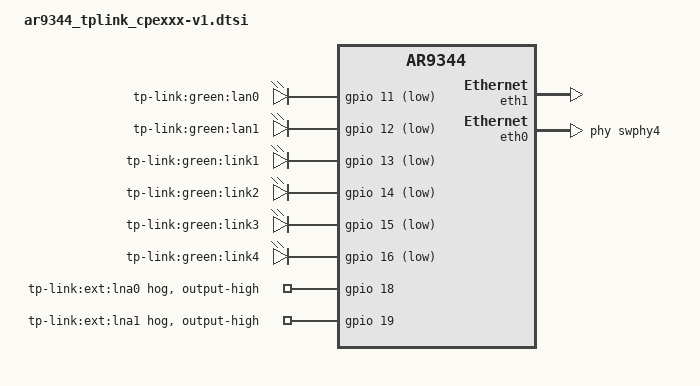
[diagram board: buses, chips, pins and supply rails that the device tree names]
// SPDX-License-Identifier: GPL-2.0-or-later OR MIT
/dts-v1/;

#include "ar9344_tplink_cpexxx.dtsi"

/ {
	aliases {
		led-boot = &system;
		led-failsafe = &system;
		led-running = &system;
		led-upgrade = &system;
	};

	leds {
		compatible = "gpio-leds";

		lan0 {
			label = "tp-link:green:lan0";
			gpios = <&gpio 11 GPIO_ACTIVE_LOW>;
		};

		lan1 {
			label = "tp-link:green:lan1";
			gpios = <&gpio 12 GPIO_ACTIVE_LOW>;
		};

		link1 {
			label = "tp-link:green:link1";
			gpios = <&gpio 13 GPIO_ACTIVE_LOW>;
		};

		link2 {
			label = "tp-link:green:link2";
			gpios = <&gpio 14 GPIO_ACTIVE_LOW>;
		};

		link3 {
			label = "tp-link:green:link3";
			gpios = <&gpio 15 GPIO_ACTIVE_LOW>;
		};

		system: link4 {
			label = "tp-link:green:link4";
			gpios = <&gpio 16 GPIO_ACTIVE_LOW>;
		};
	};
};

&gpio {
	gpio_ext_lna0 {
		gpio-hog;
		gpios = <18 0>;
		output-high;
		line-name = "tp-link:ext:lna0";
	};

	gpio_ext_lna1 {
		gpio-hog;
		gpios = <19 0>;
		output-high;
		line-name = "tp-link:ext:lna1";
	};
};

&eth1 {
	status = "okay";

	mtd-mac-address = <&info 0x8>;

	gmac-config {
		device = <&gmac>;
		switch-phy-swap = <0>;
		switch-only-mode = <1>;
	};
};

&eth0 {
	status = "okay";

	phy-handle = <&swphy4>;

	mtd-mac-address = <&info 0x8>;
};
